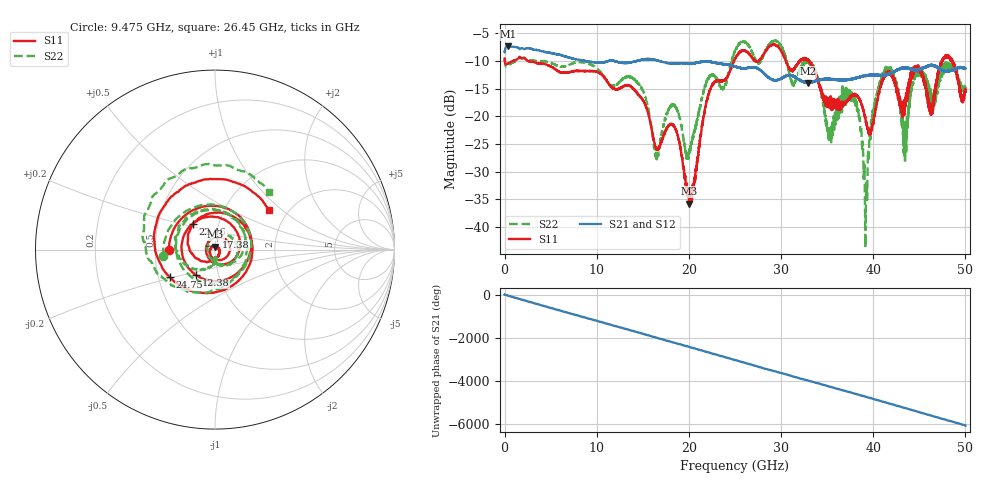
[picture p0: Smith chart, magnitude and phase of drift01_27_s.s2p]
!Created with skrf (http://scikit-rf.org).
# Hz S RI R 50.0
!freq ReS11 ImS11 ReS21 ImS21 ReS12 ImS12 ReS22 ImS22
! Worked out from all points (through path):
!   10001 points, 300 kHz to 50 GHz, reference 50 ohm
!   highest |S21| = -7.33 dB at 345.3 MHz (marker M1); lowest = -14.0 dB at 32.89 GHz (marker M2)
!   group delay of S21, straight-line fit = 335 ps
!   lowest |S11| = -35.8 dB at 20.03 GHz (marker M3), VSWR 1.03, Z = 50.1 + j1.62 ohm
!   |S11| at or under -10 dB: 2.554 GHz to 24.91 GHz (22.36 GHz wide, 163 % of centre); 30.51 GHz to 32.02 GHz (1.508 GHz wide, 4.82 % of centre); 33.07 GHz to 47.45 GHz (14.38 GHz wide, 35.7 % of centre) (the widest 3 of 20)
!   |S22| runs from -43.5 to -6.3 dB; largest |S21 - S12| = 0.0079
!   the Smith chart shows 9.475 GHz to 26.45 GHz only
!   S11 on the Smith chart (normalised r, x): 9.475 GHz: 0.59, -0.00; 12.38 GHz: 0.78, -0.23; 17.38 GHz: 1.01, +0.14; 22.46 GHz: 0.76, +0.22; 24.75 GHz: 0.57, -0.19; 26.45 GHz: 1.60, +0.83
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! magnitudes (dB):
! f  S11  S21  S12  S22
! 300 kHz  -9.5  -8.4  -8.5  -9.5
! 345.3 MHz  -10.5  -7.3  -7.3  -10.8
! 8.335 GHz  -11.8  -9.9  -9.9  -10.2
! 9.475 GHz  -11.8  -10.2  -10.2  -10.7
! 12.38 GHz  -15.0  -10.2  -10.2  -13.9
! 16.67 GHz  -26.0  -10.0  -9.9  -27.1
! 17.38 GHz  -23.0  -10.3  -10.3  -20.7
! 20.03 GHz  -35.8  -10.5  -10.5  -26.0
! 22.46 GHz  -14.5  -10.2  -10.2  -12.6
! 24.75 GHz  -10.6  -10.8  -10.9  -9.4
! 25 GHz  -9.6  -11.0  -11.0  -8.3
! 26.45 GHz  -8.5  -11.2  -11.2  -7.1
! 32.89 GHz  -9.9  -14.0  -13.8  -10.0
! 33.34 GHz  -10.8  -13.8  -13.8  -10.6
! 35.25 GHz  -17.0  -13.2  -13.2  -23.6
! 37.98 GHz  -16.1  -13.1  -13.2  -17.1
! 39.17 GHz  -20.6  -12.7  -12.7  -41.6
! 40.14 GHz  -19.9  -12.5  -12.5  -17.8
! 41.67 GHz  -12.1  -12.3  -12.4  -12.0
! 43.43 GHz  -17.1  -11.2  -11.3  -27.6
! 44.89 GHz  -11.5  -11.6  -11.6  -11.6
! 50 GHz  -15.5  -11.3  -11.4  -15.0
